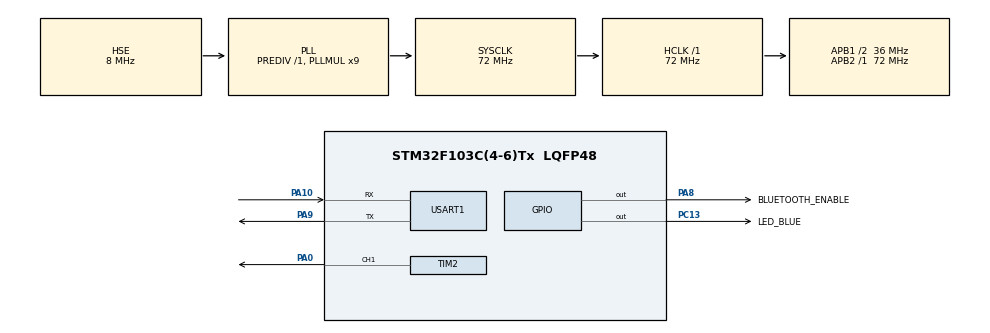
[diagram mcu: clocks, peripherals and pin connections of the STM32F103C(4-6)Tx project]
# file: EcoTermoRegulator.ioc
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Dma.Request0=USART1_TX
Dma.USART1_TX.0.Direction=DMA_MEMORY_TO_PERIPH
Dma.USART1_TX.0.Instance=DMA1_Channel4
Dma.USART1_TX.0.MemDataAlignment=DMA_MDATAALIGN_BYTE
Dma.USART1_TX.0.MemInc=DMA_MINC_ENABLE
Dma.USART1_TX.0.Mode=DMA_NORMAL
Dma.USART1_TX.0.PeriphDataAlignment=DMA_PDATAALIGN_BYTE
Dma.USART1_TX.0.PeriphInc=DMA_PINC_DISABLE
Dma.USART1_TX.0.Priority=DMA_PRIORITY_HIGH
Mcu.Family=STM32F1
Mcu.Name=STM32F103C(4-6)Tx
Mcu.Package=LQFP48
NVIC.DMA1_Channel4_IRQn=true\:2\:0\:true\:false\:true\:false\:true
NVIC.PriorityGroup=NVIC_PRIORITYGROUP_4
NVIC.TIM3_IRQn=true\:1\:0\:true\:false\:true\:true\:true
NVIC.USART1_IRQn=true\:2\:0\:true\:false\:true\:true\:true
PA0-WKUP.Signal=S_TIM2_CH1_ETR
PA10.Mode=Asynchronous
PA10.Signal=USART1_RX
PA13.Mode=Serial_Wire
PA13.Signal=SYS_JTMS-SWDIO
PA14.Mode=Serial_Wire
PA14.Signal=SYS_JTCK-SWCLK
PA8.GPIO_Label=BLUETOOTH_ENABLE
PA8.GPIO_Speed=GPIO_SPEED_FREQ_LOW
PA8.Signal=GPIO_Output
PA9.Mode=Asynchronous
PA9.Signal=USART1_TX
PC13-TAMPER-RTC.GPIO_Label=LED_BLUE
PC13-TAMPER-RTC.GPIO_PuPd=GPIO_PULLUP
PC13-TAMPER-RTC.Signal=GPIO_Output
PD0-OSC_IN.Mode=HSE-External-Oscillator
PD0-OSC_IN.Signal=RCC_OSC_IN
PD1-OSC_OUT.Mode=HSE-External-Oscillator
PD1-OSC_OUT.Signal=RCC_OSC_OUT
ProjectManager.HeapSize=0x100
ProjectManager.StackSize=0x400
ProjectManager.TargetToolchain=MDK-ARM V5.27
RCC.AHBFreq_Value=72000000
RCC.APB1CLKDivider=RCC_HCLK_DIV2
RCC.APB1Freq_Value=36000000
RCC.APB1TimFreq_Value=72000000
RCC.APB2Freq_Value=72000000
RCC.APB2TimFreq_Value=72000000
RCC.HCLKFreq_Value=72000000
RCC.PLLMUL=RCC_PLL_MUL9
RCC.PLLSourceVirtual=RCC_PLLSOURCE_HSE
RCC.RTCClockSelection=RCC_RTCCLKSOURCE_LSE
RCC.SYSCLKFreq_VALUE=72000000
RCC.SYSCLKSource=RCC_SYSCLKSOURCE_PLLCLK
RCC.USBFreq_Value=72000000
SH.S_TIM2_CH1_ETR.0=TIM2_CH1,PWM Generation1 CH1
TIM2.Channel-PWM\ Generation1\ CH1=TIM_CHANNEL_1
TIM2.Period=999
TIM2.Prescaler=71
TIM3.AutoReloadPreload=TIM_AUTORELOAD_PRELOAD_ENABLE
TIM3.Period=999
TIM3.Prescaler=71
USART1.VirtualMode=VM_ASYNC
VP_TIM3_VS_ClockSourceINT.Mode=Internal
board=custom

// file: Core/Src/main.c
/* USER CODE BEGIN Header */
/**
  ******************************************************************************
  * @file           : main.c
  * @brief          : Main program body
  ******************************************************************************
  * @attention
  *
  * <h2><center>&copy; Copyright (c) 2021 STMicroelectronics.
  * All rights reserved.</center></h2>
  *
  * This software component is licensed by ST under BSD 3-Clause license,
  * the "License"; You may not use this file except in compliance with the
  * License. You may obtain a copy of the License at:
  *                        opensource.org/licenses/BSD-3-Clause
  *
  ******************************************************************************
  */
/* USER CODE END Header */
#include "main.h"

/* USER CODE BEGIN Includes */
#include "ProtoCommunication/Src/appl_proto.h"
#include "Developer/Src/m_timer.h"
#include "Logic/Src/logic.h"

#include "ProtoCommunication\Src\messages_proto.h"
/* USER CODE END Includes */

TIM_HandleTypeDef htim2;
TIM_HandleTypeDef htim3;

UART_HandleTypeDef huart1;
DMA_HandleTypeDef hdma_usart1_tx;

/* USER CODE BEGIN PV */
ProtoTransport_t protoUart = {0};

/* USER CODE END PV */

void SystemClock_Config(void);
static void MX_GPIO_Init(void);
static void MX_DMA_Init(void);
static void MX_USART1_UART_Init(void);
static void MX_TIM2_Init(void);
static void MX_TIM3_Init(void);

int main(void)
{

  /* MCU Configuration--------------------------------------------------------*/

  /* Reset of all peripherals, Initializes the Flash interface and the Systick. */
  HAL_Init();

  /* Configure the system clock */
  SystemClock_Config();

  /* Initialize all configured peripherals */
  MX_GPIO_Init();
  MX_DMA_Init();
  MX_USART1_UART_Init();
  MX_TIM2_Init();
  MX_TIM3_Init();
  /* USER CODE BEGIN 2 */

	ApplProto_Initialise();
	Logic_Initialise();

	//debug begin
	MsgSynchronize_t m = {.id = 7};
	SendMes_Synchronize(&protoUart, &m);
	//debug end

  /* USER CODE END 2 */

  /* Infinite loop */
  /* USER CODE BEGIN WHILE */
  while (1)
  {
	  ProtoTransp_Process(&protoUart);
	  Logic_Process();
    /* USER CODE END WHILE */

  }
}

void SystemClock_Config(void)
{
  RCC_OscInitTypeDef RCC_OscInitStruct = {0};
  RCC_ClkInitTypeDef RCC_ClkInitStruct = {0};

  /** Initializes the RCC Oscillators according to the specified parameters
  * in the RCC_OscInitTypeDef structure.
  */
  RCC_OscInitStruct.OscillatorType = RCC_OSCILLATORTYPE_HSE;
  RCC_OscInitStruct.HSEState = RCC_HSE_ON;
  RCC_OscInitStruct.HSEPredivValue = RCC_HSE_PREDIV_DIV1;
  RCC_OscInitStruct.HSIState = RCC_HSI_ON;
  RCC_OscInitStruct.PLL.PLLState = RCC_PLL_ON;
  RCC_OscInitStruct.PLL.PLLSource = RCC_PLLSOURCE_HSE;
  RCC_OscInitStruct.PLL.PLLMUL = RCC_PLL_MUL9;
  if (HAL_RCC_OscConfig(&RCC_OscInitStruct) != HAL_OK)
  {
    Error_Handler();
  }
  /** Initializes the CPU, AHB and APB buses clocks
  */
  RCC_ClkInitStruct.ClockType = RCC_CLOCKTYPE_HCLK|RCC_CLOCKTYPE_SYSCLK
                              |RCC_CLOCKTYPE_PCLK1|RCC_CLOCKTYPE_PCLK2;
  RCC_ClkInitStruct.SYSCLKSource = RCC_SYSCLKSOURCE_PLLCLK;
  RCC_ClkInitStruct.AHBCLKDivider = RCC_SYSCLK_DIV1;
  RCC_ClkInitStruct.APB1CLKDivider = RCC_HCLK_DIV2;
  RCC_ClkInitStruct.APB2CLKDivider = RCC_HCLK_DIV1;

  if (HAL_RCC_ClockConfig(&RCC_ClkInitStruct, FLASH_LATENCY_2) != HAL_OK)
  {
    Error_Handler();
  }
}

static void MX_TIM2_Init(void)
{

  TIM_MasterConfigTypeDef sMasterConfig = {0};
  TIM_OC_InitTypeDef sConfigOC = {0};

  htim2.Instance = TIM2;
  htim2.Init.Prescaler = 71;
  htim2.Init.CounterMode = TIM_COUNTERMODE_UP;
  htim2.Init.Period = 999;
  htim2.Init.ClockDivision = TIM_CLOCKDIVISION_DIV1;
  htim2.Init.AutoReloadPreload = TIM_AUTORELOAD_PRELOAD_DISABLE;
  if (HAL_TIM_PWM_Init(&htim2) != HAL_OK)
  {
    Error_Handler();
  }
  sMasterConfig.MasterOutputTrigger = TIM_TRGO_RESET;
  sMasterConfig.MasterSlaveMode = TIM_MASTERSLAVEMODE_DISABLE;
  if (HAL_TIMEx_MasterConfigSynchronization(&htim2, &sMasterConfig) != HAL_OK)
  {
    Error_Handler();
  }
  sConfigOC.OCMode = TIM_OCMODE_PWM1;
  sConfigOC.Pulse = 0;
  sConfigOC.OCPolarity = TIM_OCPOLARITY_HIGH;
  sConfigOC.OCFastMode = TIM_OCFAST_DISABLE;
  if (HAL_TIM_PWM_ConfigChannel(&htim2, &sConfigOC, TIM_CHANNEL_1) != HAL_OK)
  {
    Error_Handler();
  }
  HAL_TIM_MspPostInit(&htim2);

}

static void MX_TIM3_Init(void)
{

  TIM_ClockConfigTypeDef sClockSourceConfig = {0};
  TIM_MasterConfigTypeDef sMasterConfig = {0};

  htim3.Instance = TIM3;
  htim3.Init.Prescaler = 71;
  htim3.Init.CounterMode = TIM_COUNTERMODE_UP;
  htim3.Init.Period = 999;
  htim3.Init.ClockDivision = TIM_CLOCKDIVISION_DIV1;
  htim3.Init.AutoReloadPreload = TIM_AUTORELOAD_PRELOAD_ENABLE;
  if (HAL_TIM_Base_Init(&htim3) != HAL_OK)
  {
    Error_Handler();
  }
  sClockSourceConfig.ClockSource = TIM_CLOCKSOURCE_INTERNAL;
  if (HAL_TIM_ConfigClockSource(&htim3, &sClockSourceConfig) != HAL_OK)
  {
    Error_Handler();
  }
  sMasterConfig.MasterOutputTrigger = TIM_TRGO_RESET;
  sMasterConfig.MasterSlaveMode = TIM_MASTERSLAVEMODE_DISABLE;
  if (HAL_TIMEx_MasterConfigSynchronization(&htim3, &sMasterConfig) != HAL_OK)
  {
    Error_Handler();
  }

}

static void MX_USART1_UART_Init(void)
{

  huart1.Instance = USART1;
  huart1.Init.BaudRate = 115200;
  huart1.Init.WordLength = UART_WORDLENGTH_8B;
  huart1.Init.StopBits = UART_STOPBITS_1;
  huart1.Init.Parity = UART_PARITY_NONE;
  huart1.Init.Mode = UART_MODE_TX_RX;
  huart1.Init.HwFlowCtl = UART_HWCONTROL_NONE;
  huart1.Init.OverSampling = UART_OVERSAMPLING_16;
  if (HAL_UART_Init(&huart1) != HAL_OK)
  {
    Error_Handler();
  }

}

static void MX_DMA_Init(void)
{

  /* DMA controller clock enable */
  __HAL_RCC_DMA1_CLK_ENABLE();

  /* DMA interrupt init */
  /* DMA1_Channel4_IRQn interrupt configuration */
  HAL_NVIC_SetPriority(DMA1_Channel4_IRQn, 2, 0);
  HAL_NVIC_EnableIRQ(DMA1_Channel4_IRQn);

}

static void MX_GPIO_Init(void)
{
  GPIO_InitTypeDef GPIO_InitStruct = {0};

  /* GPIO Ports Clock Enable */
  __HAL_RCC_GPIOC_CLK_ENABLE();
  __HAL_RCC_GPIOD_CLK_ENABLE();
  __HAL_RCC_GPIOA_CLK_ENABLE();

  /*Configure GPIO pin Output Level */
  HAL_GPIO_WritePin(LED_BLUE_GPIO_Port, LED_BLUE_Pin, GPIO_PIN_RESET);

  /*Configure GPIO pin Output Level */
  HAL_GPIO_WritePin(BLUETOOTH_ENABLE_GPIO_Port, BLUETOOTH_ENABLE_Pin, GPIO_PIN_RESET);

  /*Configure GPIO pin : LED_BLUE_Pin */
  GPIO_InitStruct.Pin = LED_BLUE_Pin;
  GPIO_InitStruct.Mode = GPIO_MODE_OUTPUT_PP;
  GPIO_InitStruct.Pull = GPIO_PULLUP;
  GPIO_InitStruct.Speed = GPIO_SPEED_FREQ_LOW;
  HAL_GPIO_Init(LED_BLUE_GPIO_Port, &GPIO_InitStruct);

  /*Configure GPIO pin : BLUETOOTH_ENABLE_Pin */
  GPIO_InitStruct.Pin = BLUETOOTH_ENABLE_Pin;
  GPIO_InitStruct.Mode = GPIO_MODE_OUTPUT_PP;
  GPIO_InitStruct.Pull = GPIO_NOPULL;
  GPIO_InitStruct.Speed = GPIO_SPEED_FREQ_LOW;
  HAL_GPIO_Init(BLUETOOTH_ENABLE_GPIO_Port, &GPIO_InitStruct);

}

/* USER CODE BEGIN 4 */

void HAL_UART_TxCpltCallback(UART_HandleTypeDef *huart){
	if(huart->Instance == USART1){
		ApplProto_TxCmpltClbk(&protoUart);
	}
}

void HAL_UART_RxCpltCallback(UART_HandleTypeDef *huart){
	if(huart->Instance == USART1){
		ApplProto_RxCmpltClbk(&protoUart);
	}
}

void HAL_UART_ErrorCallback(UART_HandleTypeDef *huart){
	if(huart->Instance == USART1){
		ApplProto_ErrorClbk(&protoUart);
	}
}

volatile uint16_t debugMaxCnt = 0;
void HAL_TIM_PeriodElapsedCallback(TIM_HandleTypeDef *htim){
	if(htim->Instance == TIM3){
		//if(debugMaxCnt < htim->Instance->CNT) debugMaxCnt = htim->Instance->CNT;
		Logic_IncrementTime();
		int32_t correct;
		if((correct = Logic_GetCorrectValue()) != 0){
			__HAL_TIM_SetAutoreload(htim, 999 + correct);
			Logic_CorrectTimeCmpltClbk();
		}
		else __HAL_TIM_SetAutoreload(htim, 999);
	}
}

/* USER CODE END 4 */

void Error_Handler(void)
{
  __disable_irq();
  while (1)
  {
  }
}

/************************ (C) COPYRIGHT STMicroelectronics *****END OF FILE****/
